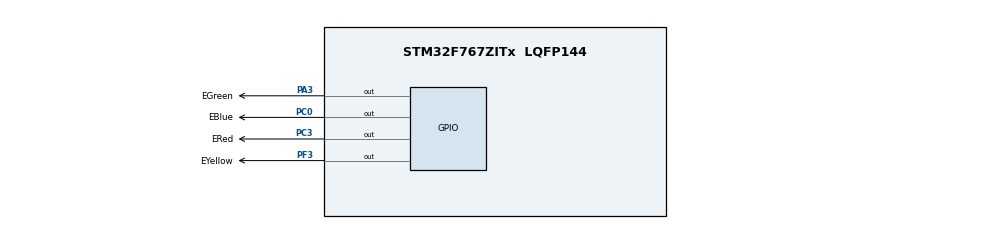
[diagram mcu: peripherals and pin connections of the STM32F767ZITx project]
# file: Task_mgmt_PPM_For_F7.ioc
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FREERTOS.Tasks01=defaultTask,8,128,StartDefaultTask,Default,NULL,Dynamic,NULL,NULL;toggleGreen,24,128,toggleGreenHook,Default,NULL,Dynamic,NULL,NULL;toggleRed,24,128,toggleRedHook,Default,NULL,Dynamic,NULL,NULL
Mcu.Family=STM32F7
Mcu.Name=STM32F767ZITx
Mcu.Package=LQFP144
NVIC.PriorityGroup=NVIC_PRIORITYGROUP_4
NVIC.TIM1_UP_TIM10_IRQn=true\:15\:0\:false\:false\:true\:false\:false\:true\:true
NVIC.TimeBase=TIM1_UP_TIM10_IRQn
NVIC.TimeBaseIP=TIM1
PA3.GPIO_Label=EGreen
PA3.Signal=GPIO_Output
PC0.GPIO_Label=EBlue
PC0.Signal=GPIO_Output
PC3.GPIO_Label=ERed
PC3.Signal=GPIO_Output
PF3.GPIO_Label=EYellow
PF3.Signal=GPIO_Output
ProjectManager.HeapSize=0x200
ProjectManager.StackSize=0x400
ProjectManager.TargetToolchain=STM32CubeIDE
RCC.HSE_VALUE=25000000
RCC.HSI_VALUE=16000000
RCC.LSE_VALUE=32768
RCC.USBFreq_Value=96000000
RCC.VCOOutputFreq_Value=192000000
VP_FREERTOS_VS_CMSIS_V2.Mode=CMSIS_V2
VP_SYS_VS_tim1.Mode=TIM1
board=custom

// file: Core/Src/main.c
/* USER CODE BEGIN Header */
/**
  ******************************************************************************
  * @file           : main.c
  * @brief          : Main program body
  ******************************************************************************
  * @attention
  *
  * Copyright (c) 2024 STMicroelectronics.
  * All rights reserved.
  *
  * This software is licensed under terms that can be found in the LICENSE file
  * in the root directory of this software component.
  * If no LICENSE file comes with this software, it is provided AS-IS.
  *
  ******************************************************************************
  */
/* USER CODE END Header */
#include "main.h"
#include "cmsis_os.h"

/* Definitions for defaultTask */
osThreadId_t defaultTaskHandle;
const osThreadAttr_t defaultTask_attributes = {
  .name = "defaultTask",
  .stack_size = 128 * 4,
  .priority = (osPriority_t) osPriorityLow,
};
/* Definitions for toggleGreen */
osThreadId_t toggleGreenHandle;
const osThreadAttr_t toggleGreen_attributes = {
  .name = "toggleGreen",
  .stack_size = 128 * 4,
  .priority = (osPriority_t) osPriorityNormal,
};
/* Definitions for toggleRed */
osThreadId_t toggleRedHandle;
const osThreadAttr_t toggleRed_attributes = {
  .name = "toggleRed",
  .stack_size = 128 * 4,
  .priority = (osPriority_t) osPriorityNormal,
};

void SystemClock_Config(void);
static void MPU_Config(void);
static void MX_GPIO_Init(void);
void StartDefaultTask(void *argument);
void toggleGreenHook(void *argument);
void toggleRedHook(void *argument);

/* USER CODE BEGIN 0 */
	/*
	 * This solution is from
	 * - Osiel Gastelum Zazueta
	 * - Axel Daniel Nuño Arrieta
	 *
	 *  They use a FOR and vTaskDelayUntill to create the periods and the toggling rate of 20Hz
	 *
	 *  -- Great job guys
	 *
	 *  The only drawback is that toggling is performing at almost 10Hz. Frequency must change to
	 *  25 so that toggling is done at 20Hz. The toggling period of the greenTask is also off by
	 *  2s. The toggling period of the redTask is off by 1.5s (approx).
	 *  */

/* USER CODE END 0 */

int main(void)
{

  /* MPU Configuration--------------------------------------------------------*/
  MPU_Config();

  /* MCU Configuration--------------------------------------------------------*/

  /* Reset of all peripherals, Initializes the Flash interface and the Systick. */
  HAL_Init();

  /* Configure the system clock */
  SystemClock_Config();

  /* Initialize all configured peripherals */
  MX_GPIO_Init();

  /* Init scheduler */
  osKernelInitialize();

  /* Create the thread(s) */
  /* creation of defaultTask */
  defaultTaskHandle = osThreadNew(StartDefaultTask, NULL, &defaultTask_attributes);

  /* creation of toggleGreen */
  toggleGreenHandle = osThreadNew(toggleGreenHook, NULL, &toggleGreen_attributes);

  /* creation of toggleRed */
  toggleRedHandle = osThreadNew(toggleRedHook, NULL, &toggleRed_attributes);

  /* Start scheduler */
  osKernelStart();

  /* We should never get here as control is now taken by the scheduler */
  /* Infinite loop */
  while (1)
  {

  }
}

void SystemClock_Config(void)
{
  RCC_OscInitTypeDef RCC_OscInitStruct = {0};
  RCC_ClkInitTypeDef RCC_ClkInitStruct = {0};

  /** Configure the main internal regulator output voltage
  */
  __HAL_RCC_PWR_CLK_ENABLE();
  __HAL_PWR_VOLTAGESCALING_CONFIG(PWR_REGULATOR_VOLTAGE_SCALE3);

  /** Initializes the RCC Oscillators according to the specified parameters
  * in the RCC_OscInitTypeDef structure.
  */
  RCC_OscInitStruct.OscillatorType = RCC_OSCILLATORTYPE_HSI;
  RCC_OscInitStruct.HSIState = RCC_HSI_ON;
  RCC_OscInitStruct.HSICalibrationValue = RCC_HSICALIBRATION_DEFAULT;
  RCC_OscInitStruct.PLL.PLLState = RCC_PLL_NONE;
  if (HAL_RCC_OscConfig(&RCC_OscInitStruct) != HAL_OK)
  {
    Error_Handler();
  }

  /** Initializes the CPU, AHB and APB buses clocks
  */
  RCC_ClkInitStruct.ClockType = RCC_CLOCKTYPE_HCLK|RCC_CLOCKTYPE_SYSCLK
                              |RCC_CLOCKTYPE_PCLK1|RCC_CLOCKTYPE_PCLK2;
  RCC_ClkInitStruct.SYSCLKSource = RCC_SYSCLKSOURCE_HSI;
  RCC_ClkInitStruct.AHBCLKDivider = RCC_SYSCLK_DIV1;
  RCC_ClkInitStruct.APB1CLKDivider = RCC_HCLK_DIV1;
  RCC_ClkInitStruct.APB2CLKDivider = RCC_HCLK_DIV1;

  if (HAL_RCC_ClockConfig(&RCC_ClkInitStruct, FLASH_LATENCY_0) != HAL_OK)
  {
    Error_Handler();
  }
}

static void MX_GPIO_Init(void)
{
  GPIO_InitTypeDef GPIO_InitStruct = {0};

  /* GPIO Ports Clock Enable */
  __HAL_RCC_GPIOF_CLK_ENABLE();
  __HAL_RCC_GPIOC_CLK_ENABLE();
  __HAL_RCC_GPIOA_CLK_ENABLE();

  /*Configure GPIO pin Output Level */
  HAL_GPIO_WritePin(GPIOF, GPIO_PIN_3, GPIO_PIN_RESET);

  /*Configure GPIO pin Output Level */
  HAL_GPIO_WritePin(GPIOC, GPIO_PIN_0|GPIO_PIN_3, GPIO_PIN_RESET);

  /*Configure GPIO pin Output Level */
  HAL_GPIO_WritePin(GPIOA, GPIO_PIN_3, GPIO_PIN_RESET);

  /*Configure GPIO pin : PF3 */
  GPIO_InitStruct.Pin = GPIO_PIN_3;
  GPIO_InitStruct.Mode = GPIO_MODE_OUTPUT_PP;
  GPIO_InitStruct.Pull = GPIO_NOPULL;
  GPIO_InitStruct.Speed = GPIO_SPEED_FREQ_LOW;
  HAL_GPIO_Init(GPIOF, &GPIO_InitStruct);

  /*Configure GPIO pins : PC0 PC3 */
  GPIO_InitStruct.Pin = GPIO_PIN_0|GPIO_PIN_3;
  GPIO_InitStruct.Mode = GPIO_MODE_OUTPUT_PP;
  GPIO_InitStruct.Pull = GPIO_NOPULL;
  GPIO_InitStruct.Speed = GPIO_SPEED_FREQ_LOW;
  HAL_GPIO_Init(GPIOC, &GPIO_InitStruct);

  /*Configure GPIO pin : PA3 */
  GPIO_InitStruct.Pin = GPIO_PIN_3;
  GPIO_InitStruct.Mode = GPIO_MODE_OUTPUT_PP;
  GPIO_InitStruct.Pull = GPIO_NOPULL;
  GPIO_InitStruct.Speed = GPIO_SPEED_FREQ_LOW;
  HAL_GPIO_Init(GPIOA, &GPIO_InitStruct);

}

void StartDefaultTask(void *argument)
{
  for(;;)
  {
    osDelay(1);
  }
}

void toggleGreenHook(void *argument)
{
  /* USER CODE BEGIN toggleGreenHook */

	TickType_t tickCount;
	TickType_t frecuency = 25; //25 instead of 50
	tickCount = xTaskGetTickCount();
	/* Infinite loop */
	for(;;)
	{

		HAL_GPIO_WritePin(EBlue_GPIO_Port, EBlue_Pin, GPIO_PIN_SET);
		for (int i=0;i<80;i++){ // Toggle 20HZ for 4 seconds
			HAL_GPIO_TogglePin(EGreen_GPIO_Port, EGreen_Pin);
			vTaskDelayUntil(&tickCount, frecuency);
		}

		HAL_GPIO_WritePin(EGreen_GPIO_Port, EGreen_Pin, GPIO_PIN_RESET);
		HAL_GPIO_WritePin(EBlue_GPIO_Port, EBlue_Pin, GPIO_PIN_RESET);
		vTaskDelayUntil(&tickCount, 6000); // Task every 6 seconds
  }
  /* USER CODE END toggleGreenHook */
}

void toggleRedHook(void *argument)
{
  /* USER CODE BEGIN toggleRedHook */
	TickType_t tickCount;
	TickType_t frecuency = 25; // 25 instead of 50
	tickCount = xTaskGetTickCount();

  /* Infinite loop */
  for(;;)
  {

	  HAL_GPIO_WritePin(EYellow_GPIO_Port, EYellow_Pin, GPIO_PIN_SET);
	  for (int i=0;i<20;i++){ // Toggle at 20HZ for 1 second
		  HAL_GPIO_TogglePin(ERed_GPIO_Port, ERed_Pin);
		  vTaskDelayUntil(&tickCount, frecuency);
	  }

	  HAL_GPIO_WritePin(ERed_GPIO_Port, ERed_Pin, GPIO_PIN_RESET);
	  HAL_GPIO_WritePin(EYellow_GPIO_Port, EYellow_Pin, GPIO_PIN_RESET);
	  vTaskDelayUntil(&tickCount, 2000);// Task every 2 seconds
  }
  /* USER CODE END toggleRedHook */
}

/* MPU Configuration */

void MPU_Config(void)
{
  MPU_Region_InitTypeDef MPU_InitStruct = {0};

  /* Disables the MPU */
  HAL_MPU_Disable();

  /** Initializes and configures the Region and the memory to be protected
  */
  MPU_InitStruct.Enable = MPU_REGION_ENABLE;
  MPU_InitStruct.Number = MPU_REGION_NUMBER0;
  MPU_InitStruct.BaseAddress = 0x0;
  MPU_InitStruct.Size = MPU_REGION_SIZE_4GB;
  MPU_InitStruct.SubRegionDisable = 0x87;
  MPU_InitStruct.TypeExtField = MPU_TEX_LEVEL0;
  MPU_InitStruct.AccessPermission = MPU_REGION_NO_ACCESS;
  MPU_InitStruct.DisableExec = MPU_INSTRUCTION_ACCESS_DISABLE;
  MPU_InitStruct.IsShareable = MPU_ACCESS_SHAREABLE;
  MPU_InitStruct.IsCacheable = MPU_ACCESS_NOT_CACHEABLE;
  MPU_InitStruct.IsBufferable = MPU_ACCESS_NOT_BUFFERABLE;

  HAL_MPU_ConfigRegion(&MPU_InitStruct);
  /* Enables the MPU */
  HAL_MPU_Enable(MPU_PRIVILEGED_DEFAULT);

}

void HAL_TIM_PeriodElapsedCallback(TIM_HandleTypeDef *htim)
{
  if (htim->Instance == TIM1) {
    HAL_IncTick();
  }
}

void Error_Handler(void)
{
  __disable_irq();
  while (1)
  {
  }
}
